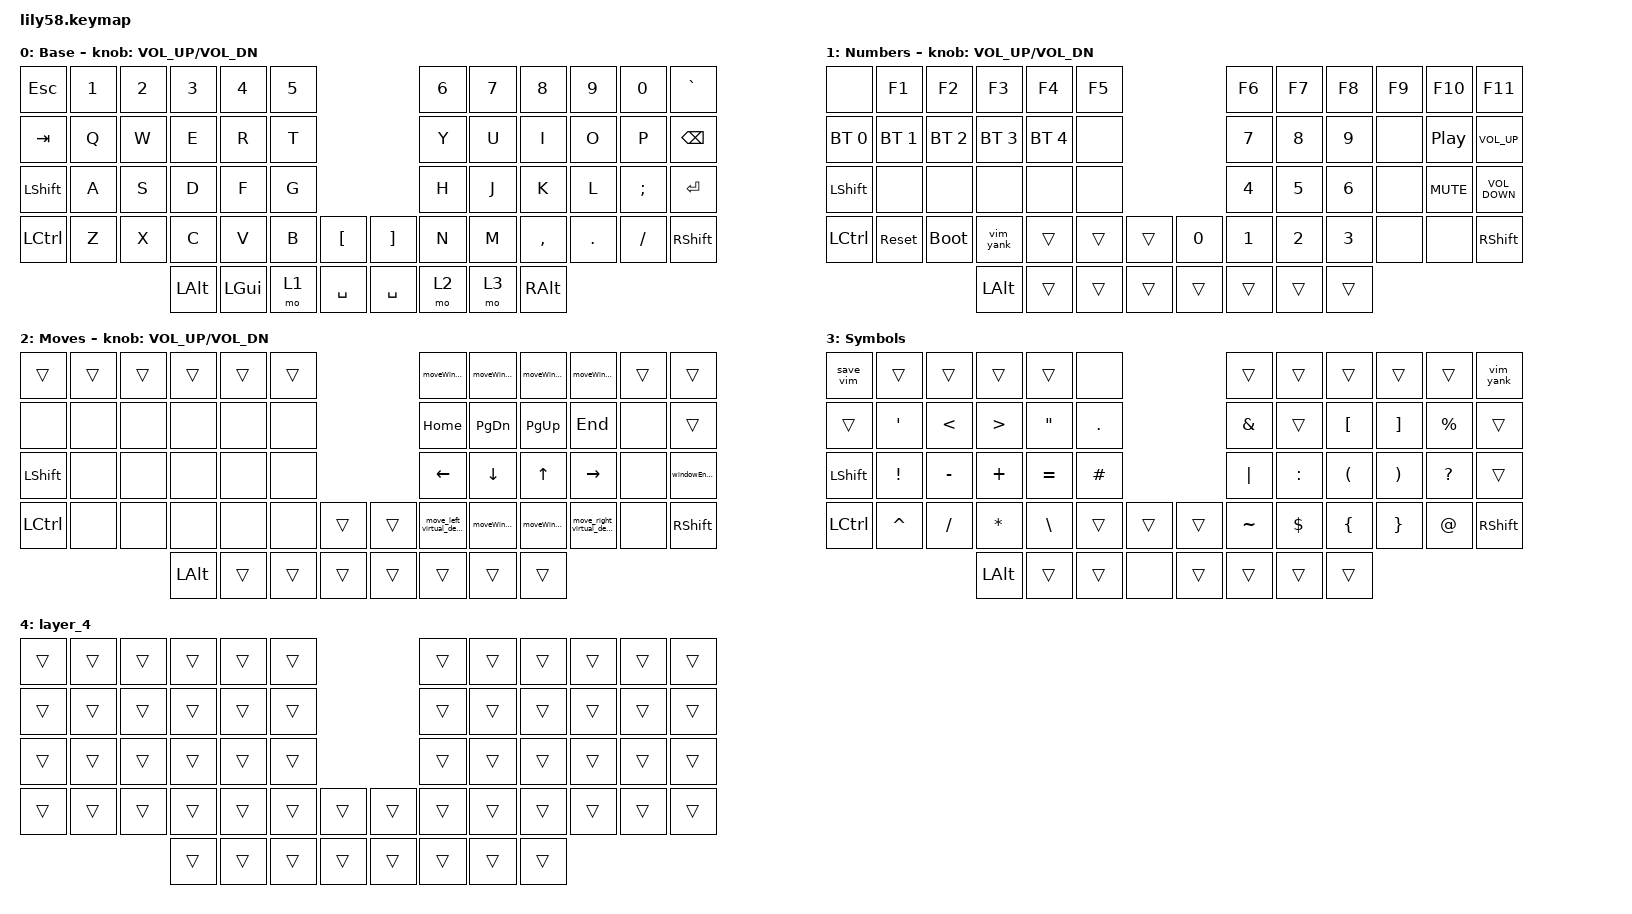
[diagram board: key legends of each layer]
/*
 * Copyright (c) 2020 The ZMK Contributors
 *
 * SPDX-License-Identifier: MIT
 */

#include <behaviors.dtsi>
#include <dt-bindings/zmk/bt.h>
#include <dt-bindings/zmk/keys.h>

/ {
    macros {
        vim_yank: vim_yank {
            compatible = "zmk,behavior-macro";
            #binding-cells = <0>;
            bindings = <&kp DOUBLE_QUOTES &kp PLUS &kp Y>;
            label = "VIM_YANK";
            tap-ms = <10>;
            wait-ms = <10>;
        };

        move_left_virtual_desktop: virtual_desktop_movement {
            compatible = "zmk,behavior-macro";
            #binding-cells = <0>;
            bindings = <&kp LC(LA(LEFT_ARROW))>;
            label = "VIRTUAL_DESKTOP_MOVEMENT";
            wait-ms = <0>;
        };

        move_right_virtual_desktop: move_right_virtual_desktop {
            compatible = "zmk,behavior-macro";
            #binding-cells = <0>;
            bindings = <&kp LC(LA(RIGHT_ARROW))>;
            label = "MOVE_RIGHT_VIRTUAL_DESKTOP";
            wait-ms = <10>;
            tap-ms = <10>;
        };

        moveWindowLeftVirtualDesktop: moveWindowLeftVirtualDesktop {
            compatible = "zmk,behavior-macro";
            #binding-cells = <0>;
            bindings = <&kp LC(LA(LS(LEFT_ARROW)))>;
            label = "MOVEWINDOWLEFTVIRTUALDESKTOP";
            wait-ms = <20>;
            tap-ms = <20>;
        };

        moveWindowRightVirtualDesktop: moveWindowRightVirtualDesktop {
            compatible = "zmk,behavior-macro";
            #binding-cells = <0>;
            bindings = <&kp LC(LA(LS(RIGHT_ARROW)))>;
            label = "MOVEWINDOWRIGHTVIRTUALDESKTOP";
        };

        moveWindowLeft: moveWindowLeft {
            compatible = "zmk,behavior-macro";
            #binding-cells = <0>;
            bindings = <&kp LG(LS(LEFT_ARROW))>;
            label = "MOVEWINDOWLEFT";
        };

        moveWindowRight: moveWindowRight {
            compatible = "zmk,behavior-macro";
            #binding-cells = <0>;
            bindings = <&kp LG(LS(RIGHT_ARROW))>;
            label = "MOVEWINDOWRIGHT";
        };

        moveWindowUp: moveWindowUp {
            compatible = "zmk,behavior-macro";
            #binding-cells = <0>;
            bindings = <&kp LG(LS(UP_ARROW))>;
            label = "MOVEWINDOWUP";
        };

        moveWindowDown: moveWindowDown {
            compatible = "zmk,behavior-macro";
            #binding-cells = <0>;
            bindings = <&kp LG(LS(DOWN))>;
            label = "MOVEWINDOWDOWN";
        };

        windowEnter: windowEnter {
            compatible = "zmk,behavior-macro";
            #binding-cells = <0>;
            bindings = <&kp LG(ENTER)>;
            label = "WINDOWENTER";
        };

        save_vim: save_vim {
            compatible = "zmk,behavior-macro";
            #binding-cells = <0>;
            bindings = <&kp COLON &kp W>;
            label = "SAVE_VIM";
            tap-ms = <10>;
            wait-ms = <10>;
        };
    };

    keymap {
        compatible = "zmk,keymap";

        default_layer {
            // ------------------------------------------------------------------------------------------------------------
            // |  ESC  |  1  |  2  |  3   |  4   |  5   |                   |  6   |  7    |  8    |  9   |   0   |   `   |
            // |  TAB  |  Q  |  W  |  E   |  R   |  T   |                   |  Y   |  U    |  I    |  O   |   P   |   -   |
            // |  CTRL |  A  |  S  |  D   |  F   |  G   |                   |  H   |  J    |  K    |  L   |   ;   |   '   |
            // | SHIFT |  Z  |  X  |  C   |  V   |  B   |   "["  |  |  "]"  |  N   |  M    |  ,    |  .   |   /   | SHIFT |
            //                     | ALT  | GUI  | LOWER|  SPACE |  | ENTER | RAISE| BSPC  | GUI   |

            display-name = "Base";
            bindings = <
&kp ESC           &kp N1  &kp N2  &kp N3    &kp N4    &kp N5                          &kp N6  &kp N7  &kp N8         &kp N9   &kp N0    &kp GRAVE
&kp TAB           &kp Q   &kp W   &kp E     &kp R     &kp T                           &kp Y   &kp U   &kp I          &kp O    &kp P     &kp BACKSPACE
&kp LEFT_SHIFT    &kp A   &kp S   &kp D     &kp F     &kp G                           &kp H   &kp J   &kp K          &kp L    &kp SEMI  &kp ENTER
&kp LEFT_CONTROL  &kp Z   &kp X   &kp C     &kp V     &kp B   &kp LBKT     &kp RBKT   &kp N   &kp M   &kp COMMA      &kp DOT  &kp FSLH  &kp RSHFT
                                  &kp LALT  &kp LGUI  &mo 1   &kp SPACE    &kp SPACE  &mo 2   &mo 3   &kp RIGHT_ALT
            >;

            sensor-bindings = <&inc_dec_kp C_VOL_UP C_VOL_DN>;
        };

        numbers {
            // ------------------------------------------------------------------------------------------------------------
            // | BTCLR | BT1 | BT2 |  BT3 |  BT4 |  BT5 |                   |      |       |       |      |       |       |
            // |  F1   |  F2 |  F3 |  F4  |  F5  |  F6  |                   |  F7  |  F8   |  F9   |  F10 |  F11  |  F12  |
            // |   `   |  !  |  @  |  #   |  $   |  %   |                   |  ^   |  &    |  *    |  (   |   )   |   ~   |
            // |       |     |     |      |      |      |        |  |       |      |  _    |  +    |  {   |   }   |  "|"  |
            //                     |      |      |      |        |  |       |      |       |       |

            display-name = "Numbers";
            bindings = <
&none             &kp F1        &kp F2        &kp F3        &kp F4        &kp F5                    &kp F6        &kp F7        &kp F8        &kp F9  &kp F10           &kp F11
&bt BT_SEL 0      &bt BT_SEL 1  &bt BT_SEL 2  &bt BT_SEL 3  &bt BT_SEL 4  &none                     &kp NUMBER_7  &kp NUMBER_8  &kp NUMBER_9  &none   &kp C_PLAY_PAUSE  &kp C_VOLUME_UP
&kp LEFT_SHIFT    &none         &none         &none         &none         &none                     &kp N4        &kp NUMBER_5  &kp N6        &none   &kp K_MUTE        &kp C_VOLUME_DOWN
&kp LEFT_CONTROL  &sys_reset    &bootloader   &vim_yank     &trans        &trans  &trans    &kp N0  &kp NUMBER_1  &kp NUMBER_2  &kp N3        &none   &none             &kp RIGHT_SHIFT
                                              &kp LEFT_ALT  &trans        &trans  &trans    &trans  &trans        &trans        &trans
            >;

            sensor-bindings = <&inc_dec_kp C_VOL_UP C_VOL_DN>;
        };

        Moves {
            // ------------------------------------------------------------------------------------------------------------
            // |       |     |     |      |      |      |                   |      |       |       |      |       |       |
            // |   `   |  1  |  2  |  3   |  4   |  5   |                   |  6   |   7   |   8   |  9   |   0   |       |
            // |   F1  |  F2 |  F3 |  F4  |  F5  |  F6  |                   |      |   <-  |   v   |  ^   |  ->   |       |
            // |   F7  |  F8 |  F9 |  F10 |  F11 |  F12 |        |  |       |  +   |   -   |   =   |  [   |   ]   |   \   |
            //                     |      |      |      |        |  |       |      |       |       |

            display-name = "Moves";
            bindings = <
&trans            &trans  &trans  &trans        &trans  &trans                    &moveWindowLeft             &moveWindowDown                &moveWindowUp                   &moveWindowRight             &trans  &trans
&none             &none   &none   &none         &none   &none                     &kp HOME                    &kp PG_DN                      &kp PG_UP                       &kp END                      &none   &trans
&kp LEFT_SHIFT    &none   &none   &none         &none   &none                     &kp LEFT                    &kp DOWN                       &kp UP_ARROW                    &kp RIGHT                    &none   &windowEnter
&kp LEFT_CONTROL  &none   &none   &none         &none   &none   &trans    &trans  &move_left_virtual_desktop  &moveWindowLeftVirtualDesktop  &moveWindowRightVirtualDesktop  &move_right_virtual_desktop  &none   &kp RIGHT_SHIFT
                                  &kp LEFT_ALT  &trans  &trans  &trans    &trans  &trans                      &trans                         &trans
            >;

            sensor-bindings = <&inc_dec_kp C_VOL_UP C_VOL_DN>;
        };

        Symbols {
            bindings = <
&save_vim         &trans            &trans         &trans            &trans             &none                         &trans     &trans      &trans                &trans                 &trans        &vim_yank
&trans            &kp SINGLE_QUOTE  &kp LESS_THAN  &kp GREATER_THAN  &kp DOUBLE_QUOTES  &kp PERIOD                    &kp AMPS   &trans      &kp LEFT_BRACKET      &kp RIGHT_BRACKET      &kp PERCENT   &trans
&kp LEFT_SHIFT    &kp EXCLAMATION   &kp MINUS      &kp PLUS          &kp EQUAL          &kp HASH                      &kp PIPE   &kp COLON   &kp LEFT_PARENTHESIS  &kp RIGHT_PARENTHESIS  &kp QUESTION  &trans
&kp LEFT_CONTROL  &kp CARET         &kp SLASH      &kp ASTERISK      &kp BACKSLASH      &trans      &trans    &trans  &kp TILDE  &kp DOLLAR  &kp LEFT_BRACE        &kp RIGHT_BRACE        &kp AT_SIGN   &kp RIGHT_SHIFT
                                                   &kp LEFT_ALT      &trans             &trans      &none     &trans  &trans     &trans      &trans
            >;

            label = "Symbols";
        };

        layer_4 {
            bindings = <
&trans  &trans  &trans  &trans  &trans  &trans                    &trans  &trans  &trans  &trans  &trans  &trans
&trans  &trans  &trans  &trans  &trans  &trans                    &trans  &trans  &trans  &trans  &trans  &trans
&trans  &trans  &trans  &trans  &trans  &trans                    &trans  &trans  &trans  &trans  &trans  &trans
&trans  &trans  &trans  &trans  &trans  &trans  &trans    &trans  &trans  &trans  &trans  &trans  &trans  &trans
                        &trans  &trans  &trans  &trans    &trans  &trans  &trans  &trans
            >;
        };
    };
};
